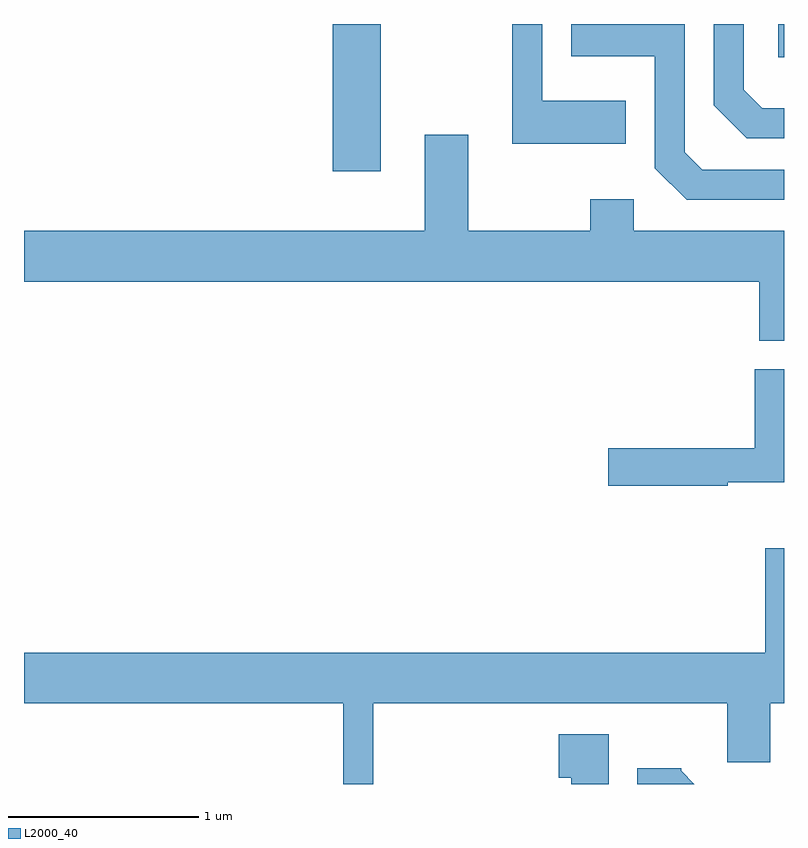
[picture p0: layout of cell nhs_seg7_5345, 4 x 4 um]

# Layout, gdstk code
import gdstk
lib = gdstk.Library(unit=1e-6, precision=1e-09)
def R(c, l, rs):  # rectangles x0, y0, x1, y1
    for r in rs: c.add(gdstk.rectangle(r[:2], r[2:], *l))
def P(c, l, *ps):  # polygons
    for p in ps: c.add(gdstk.Polygon(p, *l))
L2000_40 = (2000, 40)

nhs_seg7_5345 = lib.new_cell('nhs_seg7_5345')
R(nhs_seg7_5345, L2000_40, [(349.236,1801.476,349.489,1802.252), (351.581,1802.076,351.611,1802.252)])
P(nhs_seg7_5345, L2000_40, [(351.611,1801.809),(351.497,1801.809),(351.399,1801.907),(351.399,1802.252),(351.241,1802.252),(351.241,1801.824),(351.414,1801.651),(351.611,1801.651)],
  [(351.611,1801.484),(351.182,1801.484),(351.089,1801.577),(351.089,1802.252),(350.491,1802.252),(350.491,1802.081),(350.931,1802.081),(350.931,1801.494),(351.099,1801.326),(351.611,1801.326)],
  [(350.779,1801.849),(350.339,1801.849),(350.339,1802.252),(350.181,1802.252),(350.181,1801.621),(350.779,1801.621)],
  [(351.611,1801.164),(350.819,1801.164),(350.819,1801.329),(350.591,1801.329),(350.591,1801.164),(349.949,1801.164),(349.949,1801.669),(349.721,1801.669),(349.721,1801.164),(347.611,1801.164),(347.611,1800.896),(351.481,1800.896),(351.481,1800.586),(351.611,1800.586)],
  [(351.314,1799.841),(351.611,1799.841),(351.611,1800.434),(351.456,1800.434),(351.456,1800.019),(350.686,1800.019),(350.686,1799.821),(351.314,1799.821)],
  [(349.449,1798.676),(351.311,1798.676),(351.311,1798.366),(351.539,1798.366),(351.539,1798.676),(351.611,1798.676),(351.611,1799.493),(351.511,1799.493),(351.511,1798.944),(347.611,1798.944),(347.611,1798.676),(349.291,1798.676),(349.291,1798.252),(349.449,1798.252)],
  [(350.689,1798.514),(350.426,1798.514),(350.426,1798.286),(350.491,1798.286),(350.491,1798.252),(350.689,1798.252)],
  [(351.07,1798.321),(351.07,1798.334),(350.838,1798.334),(350.838,1798.252),(351.139,1798.252)])

lib.write_gds('nhs_seg7_5345.gds')
